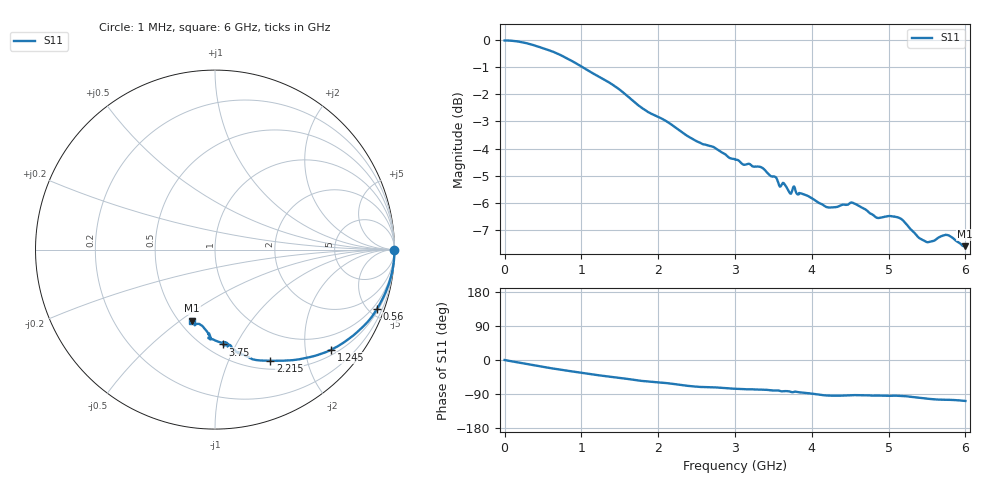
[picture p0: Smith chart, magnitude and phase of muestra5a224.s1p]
! COPPER MOUNTAIN TECHNOLOGIES, R60, 23103002, 24.3.3/3.0
! Date: 23/10/2026 12:11:37
! Data: Format [Calibration Info]
! Frequency		S11: Re/Im RO
# HZ S RI R 50
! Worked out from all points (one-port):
!   1280 points, 1 MHz to 6 GHz, reference 50 ohm
!   lowest |S11| = -7.6 dB at 5.99 GHz (marker M1), VSWR 2.43, Z = 28.9 - j27.7 ohm
!   |S11| at or under -10 dB: nowhere
!   S11 on the Smith chart (normalised r, x): 1 MHz: open; 560 MHz: 0.64, -5.55; 1.245 GHz: 0.62, -2.56; 2.215 GHz: 0.60, -1.44; 3.75 GHz: 0.60, -0.89; 6 GHz: 0.58, -0.55
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1000000  0.9999 -0.000659
2.55e8  0.9773 -0.1626
5.6e8  0.9021 -0.3315
7.55e8  0.8384 -0.4157
1.03e9  0.7298 -0.5091
1.245e9  0.6464 -0.5586
1.505e9  0.5505 -0.5936
1.795e9  0.4256 -0.6163
2.215e9  0.308 -0.6194
2.255e9  0.293 -0.6194
2.515e9  0.2156 -0.6126
2.755e9  0.1903 -0.601
3.005e9  0.1447 -0.5838
3.39e9  0.1146 -0.5641
3.705e9  0.0664 -0.52
3.75e9  0.0459 -0.5284
3.755e9  0.047 -0.5312
3.805e9  0.0533 -0.5176
4.19e9  -0.031 -0.4907
4.35e9  -0.037 -0.4917
4.505e9  -0.0269 -0.5002
4.85e9  -0.0316 -0.4684
5.13e9  -0.036 -0.4687
5.255e9  -0.0493 -0.4501
5.495e9  -0.0868 -0.4146
5.76e9  -0.113 -0.4217
5.99e9  -0.128 -0.396
6e9  -0.1292 -0.3959
